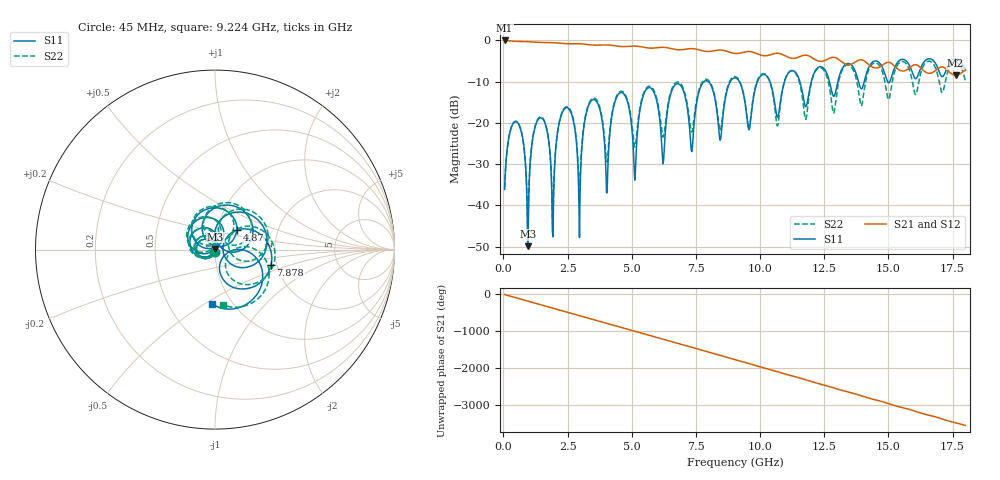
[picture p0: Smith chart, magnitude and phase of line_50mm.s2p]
!Agilent Technologies,E8364A,US41440284,A.06.04.32
!Agilent E8364A: A.06.04.32
!Date: Friday, December 06, 2019 10:08:00
!Correction: S11(Full 2 Port(1,2)) S21(Full 2 Port(1,2)) S12(Full 2 Port(1,2)) S22(Full 2 Port(1,2))
!S2P File: Measurements: S11, S21, S12, S22:
# Hz S  MA  R 50
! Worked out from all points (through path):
!   801 points, 45 MHz to 18 GHz, reference 50 ohm
!   highest |S21| = -0.02 dB at 45 MHz (marker M1); lowest = -8.5 dB at 17.62 GHz (marker M2)
!   group delay of S21, straight-line fit = 549 ps
!   lowest |S11| = -49.9 dB at 942.8 MHz (marker M3), VSWR 1.01, Z = 50.1 + j0.306 ohm
!   |S11| at or under -10 dB: start of sweep to 7.812 GHz; 7.982 GHz to 8.84 GHz (857.9 MHz wide, 10.2 % of centre); 9.192 GHz to 9.896 GHz (703.9 MHz wide, 7.38 % of centre)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
!   |S22| runs from -47.0 to -5.0 dB; largest |S21 - S12| = 0.0012
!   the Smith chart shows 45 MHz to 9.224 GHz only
!   S11 on the Smith chart (normalised r, x): 45 MHz: 0.99, -0.03; 4.87 GHz: 1.24, +0.28; 7.878 GHz: 1.86, -0.36; 9.224 GHz: 0.81, -0.54
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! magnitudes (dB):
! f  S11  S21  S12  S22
! 45 MHz  -36.1  0.0  0.0  -35.7
! 516.3 MHz  -19.8  -0.2  -0.2  -19.7
! 942.8 MHz  -49.9  -0.3  -0.3  -46.2
! 1.414 GHz  -18.8  -0.5  -0.5  -18.6
! 1.908 GHz  -46.4  -0.6  -0.6  -43.3
! 2.379 GHz  -16.6  -0.8  -0.8  -16.3
! 3.052 GHz  -26.2  -0.9  -0.9  -25.6
! 3.412 GHz  -14.7  -1.1  -1.1  -14.4
! 4.018 GHz  -37.0  -1.1  -1.1  -29.3
! 4.87 GHz  -15.8  -1.4  -1.5  -15.2
! 5.117 GHz  -33.9  -1.4  -1.4  -25.9
! 5.521 GHz  -12.3  -1.7  -1.7  -12.0
! 6.037 GHz  -16.8  -1.7  -1.7  -15.9
! 7.339 GHz  -27.0  -2.0  -2.0  -22.2
! 7.878 GHz  -9.8  -2.7  -2.7  -9.4
! 8.439 GHz  -24.2  -2.3  -2.3  -21.9
! 9.023 GHz  -9.1  -3.2  -3.2  -8.8
! 9.224 GHz  -10.4  -3.1  -3.1  -10.2
! 12.03 GHz  -9.2  -4.2  -4.2  -9.5
! 15.01 GHz  -10.3  -5.3  -5.3  -14.3
! 17.62 GHz  -4.5  -8.5  -8.5  -5.2
! 18 GHz  -7.3  -7.2  -7.2  -10.0
